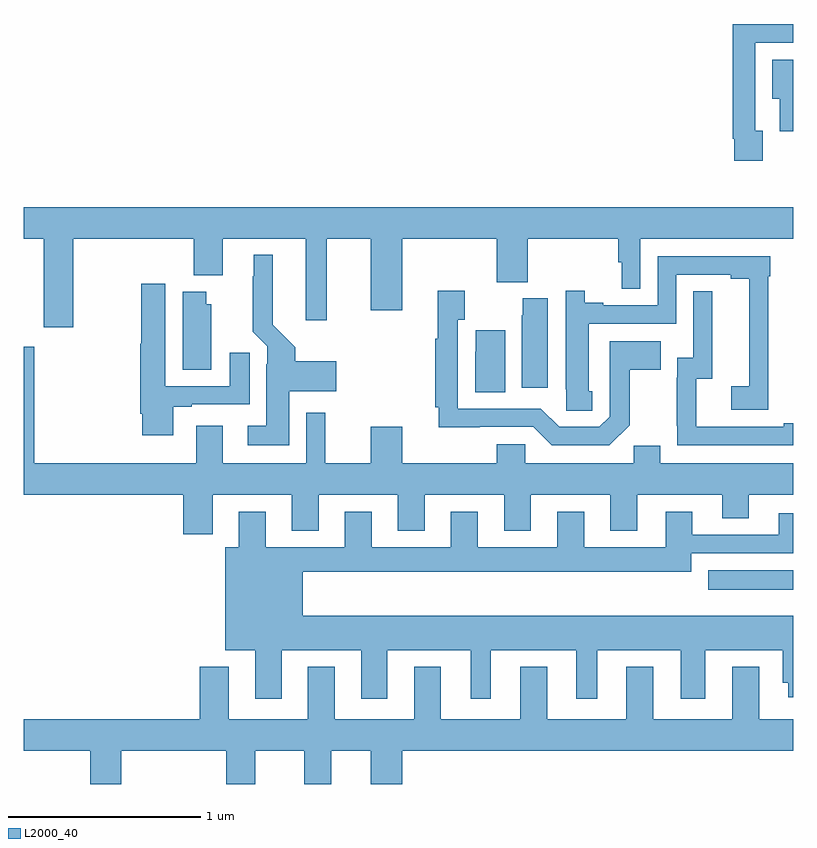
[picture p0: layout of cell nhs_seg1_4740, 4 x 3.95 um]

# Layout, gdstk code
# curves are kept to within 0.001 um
import gdstk
lib = gdstk.Library(unit=1e-6, precision=1e-09)
def R(c, l, rs):  # rectangles x0, y0, x1, y1
    for r in rs: c.add(gdstk.rectangle(r[:2], r[2:], *l))
def P(c, l, *ps):  # polygons
    for p in ps: c.add(gdstk.Polygon(p, *l))
L2000_40 = (2000, 40)

nhs_seg1_4740 = lib.new_cell('nhs_seg1_4740')
R(nhs_seg1_4740, L2000_40, [(370.56,579.209,371,579.31)])
P(nhs_seg1_4740, L2000_40, [(370.843,581.598),(370.803,581.598),(370.803,582.054),(371,582.054),(371,582.15),(370.979,582.15),(370.979,582.152),(370.687,582.152),(370.687,581.554),(370.695,581.554),(370.695,581.442),(370.843,581.442)],
  [(371,581.965),(370.892,581.965),(370.892,581.762),(370.931,581.762),(370.931,581.594),(371,581.594)],
  [(367,581.036),(367.102,581.036),(367.102,580.575),(367.257,580.575),(367.257,581.036),(367.883,581.036),(367.883,580.844),(368.035,580.844),(368.035,581.036),(368.465,581.036),(368.465,580.611),(368.575,580.611),(368.575,581.036),(368.804,581.036),(368.804,580.662),(368.968,580.662),(368.968,581.036),(369.46,581.036),(369.46,580.81),(369.62,580.81),(369.62,581.036),(370.09,581.036),(370.09,580.913),(370.109,580.913),(370.109,580.774),(370.206,580.774),(370.206,581.036),(371,581.036),(371,581.2),(367,581.2)],
  [(368.38,580.241),(368.623,580.241),(368.623,580.399),(368.411,580.399),(368.411,580.47),(368.293,580.588),(368.293,580.951),(368.195,580.951),(368.195,580.841),(368.191,580.841),(368.191,580.55),(368.265,580.476),(368.265,580.382),(368.261,580.382),(368.261,580.063),(368.163,580.063),(368.163,579.962),(368.38,579.962)],
  [(369.957,580.242),(369.937,580.242),(369.937,580.593),(370.392,580.593),(370.392,580.848),(370.676,580.848),(370.676,580.828),(370.772,580.828),(370.772,580.267),(370.68,580.267),(370.68,580.145),(370.87,580.145),(370.87,580.841),(370.882,580.841),(370.882,580.944),(370.296,580.944),(370.296,580.689),(370.012,580.689),(370.012,580.702),(369.917,580.702),(369.917,580.765),(369.819,580.765),(369.819,580.496),(369.818,580.496),(369.818,580.252),(369.82,580.252),(369.82,580.141),(369.957,580.141)],
  [(367.777,580.161),(367.873,580.161),(367.873,580.173),(368.173,580.173),(368.173,580.441),(368.069,580.441),(368.069,580.269),(367.735,580.269),(367.735,580.801),(367.609,580.801),(367.609,580.488),(367.604,580.488),(367.604,580.126),(367.616,580.126),(367.616,580.014),(367.777,580.014)],
  [(370.15,580.066),(370.15,580.354),(370.312,580.354),(370.312,580.501),(370.046,580.501),(370.047,580.11),(369.993,580.056),(369.783,580.056),(369.687,580.152),(369.255,580.152),(369.255,580.615),(369.292,580.615),(369.292,580.765),(369.152,580.765),(369.152,580.516),(369.139,580.516),(369.139,580.159),(369.158,580.159),(369.158,580.055),(369.648,580.056),(369.744,579.96),(370.044,579.96)],
  [(371,580.076),(370.952,580.076),(370.952,580.056),(370.496,580.056),(370.496,580.307),(370.58,580.307),(370.58,580.763),(370.482,580.763),(370.482,580.417),(370.398,580.417),(370.398,580.313),(370.396,580.313),(370.396,580.063),(370.398,580.063),(370.398,579.96),(371,579.96)],
  [(367.975,580.695),(367.948,580.695),(367.948,580.759),(367.826,580.759),(367.826,580.354),(367.975,580.354)],
  [(369.724,580.725),(369.595,580.725),(369.595,580.638),(369.59,580.638),(369.59,580.26),(369.724,580.26)],
  [(369.502,580.559),(369.351,580.559),(369.351,580.448),(369.347,580.448),(369.347,580.237),(369.502,580.237)],
  [(370.189,579.704),(370.631,579.704),(370.631,579.58),(370.771,579.58),(370.771,579.704),(371,579.704),(371,579.868),(370.309,579.868),(370.309,579.959),(370.171,579.959),(370.171,579.868),(369.606,579.868),(369.606,579.966),(369.46,579.966),(369.46,579.868),(368.968,579.868),(368.968,580.057),(368.804,580.057),(368.804,579.868),(368.568,579.868),(368.568,580.129),(368.469,580.129),(368.469,579.868),(368.035,579.868),(368.035,580.063),(367.895,580.063),(367.895,579.868),(367.054,579.868),(367.054,580.474),(367,580.474),(367,579.704),(367.829,579.704),(367.829,579.498),(367.981,579.498),(367.981,579.704),(368.393,579.704),(368.393,579.515),(368.533,579.515),(368.533,579.704),(368.945,579.704),(368.945,579.515),(369.085,579.515),(369.085,579.704),(369.497,579.704),(369.497,579.515),(369.637,579.515),(369.637,579.704),(370.049,579.704),(370.049,579.515),(370.189,579.515)],
  [(368.341,578.894),(368.753,578.894),(368.753,578.643),(368.89,578.643),(368.89,578.894),(369.323,578.894),(369.323,578.643),(369.427,578.643),(369.427,578.894),(369.872,578.894),(369.872,578.643),(369.982,578.643),(369.982,578.894),(370.415,578.894),(370.415,578.643),(370.543,578.643),(370.543,578.894),(370.946,578.894),(370.946,578.726),(370.976,578.726),(370.976,578.651),(371,578.651),(371,579.073),(368.449,579.073),(368.449,579.302),(370.471,579.302),(370.471,579.399),(371,579.399),(371,579.607),(370.925,579.607),(370.925,579.495),(370.477,579.495),(370.477,579.616),(370.337,579.616),(370.337,579.43),(369.913,579.43),(369.913,579.616),(369.773,579.616),(369.773,579.43),(369.361,579.43),(369.361,579.616),(369.221,579.616),(369.221,579.43),(368.809,579.43),(368.809,579.616),(368.669,579.616),(368.669,579.43),(368.257,579.43),(368.257,579.616),(368.117,579.616),(368.117,579.43),(368.048,579.43),(368.048,578.894),(368.204,578.894),(368.204,578.643),(368.341,578.643)],
  [(371,578.536),(370.825,578.536),(370.825,578.809),(370.685,578.809),(370.685,578.536),(370.273,578.536),(370.273,578.809),(370.133,578.809),(370.133,578.536),(369.721,578.536),(369.721,578.809),(369.581,578.809),(369.581,578.536),(369.169,578.536),(369.169,578.809),(369.029,578.809),(369.029,578.536),(368.617,578.536),(368.617,578.809),(368.477,578.809),(368.477,578.536),(368.065,578.536),(368.065,578.809),(367.913,578.809),(367.913,578.536),(367,578.536),(367,578.372),(367.345,578.372),(367.345,578.199),(367.505,578.199),(367.505,578.372),(368.051,578.372),(368.051,578.199),(368.203,578.199),(368.203,578.372),(368.459,578.372),(368.459,578.199),(368.599,578.199),(368.599,578.372),(368.804,578.372),(368.804,578.199),(368.968,578.199),(368.968,578.372),(371,578.372)])

lib.write_gds('nhs_seg1_4740.gds')
